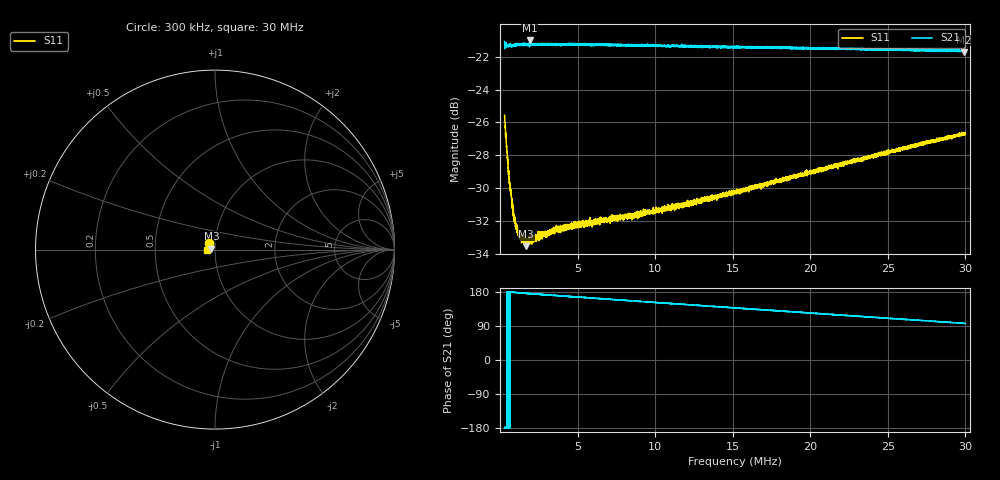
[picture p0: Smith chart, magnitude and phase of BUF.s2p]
!Agilent Technologies,N5230A,MY45001891,A.06.04.21
!Agilent N5230A: A.06.04.21
!Date: Friday, April 29, 2022 17:01:50
!Correction: S11(Off) S21(Off) S12(Off) S22(Off)
!S2P File: Measurements: S11, S21, S12, S22:
# Hz S  dB  R 50
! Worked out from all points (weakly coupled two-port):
!   6401 points, 300 kHz to 30 MHz, reference 50 ohm
!   highest |S21| = -21.01 dB at 1.929 MHz (marker M1); lowest = -21.7 dB at 29.91 MHz (marker M2)
!   lowest |S11| = -33.5 dB at 1.692 MHz (marker M3), VSWR 1.04, Z = 48 + j0.576 ohm
!   |S11| at or under -10 dB: start of sweep to end of sweep
!   S12 and S22 are empty: the file has one direction only
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300000  -25.56 133.2  -21.07 -177.9  -677.58 90.0  -680.88 90.0
383531.2  -26.88 133.3  -21.13 -178.6  -677.58 90.0  -680.88 90.0
513468.8  -28.34 132.5  -21.32 179.9  -677.58 90.0  -680.88 90.0
648046.9  -29.91 138.1  -21.24 179.1  -677.58 90.0  -680.88 90.0
764062.5  -30.61 139.4  -21.38 178.9  -677.58 90.0  -680.88 90.0
921843.8  -31.62 145.1  -21.29 178.6  -677.58 90.0  -680.88 90.0
982171.9  -32.07 147.2  -21.31 178.3  -677.58 90.0  -680.88 90.0
1084266  -32.50 149.7  -21.26 177.4  -677.58 90.0  -680.88 90.0
1269891  -32.98 155.4  -21.31 177.6  -677.58 90.0  -680.88 90.0
1460156  -33.25 158.9  -21.27 176.7  -677.58 90.0  -680.88 90.0
1692188  -33.52 163.5  -21.24 176.0  -677.58 90.0  -680.88 90.0
1928859  -33.32 167.2  -21.01 174.8  -677.58 90.0  -680.88 90.0
3372094  -32.58 176.4  -21.20 171.0  -677.58 90.0  -680.88 90.0
5251547  -32.15 179.7  -21.23 165.4  -677.58 90.0  -680.88 90.0
8639203  -31.59 -176.0  -21.31 155.8  -677.58 90.0  -680.88 90.0
1.020309e7  -31.19 -172.8  -21.33 151.2  -677.58 90.0  -680.88 90.0
1.165561e7  -31.04 -171.7  -21.31 147.3  -677.58 90.0  -680.88 90.0
1.515e7  -30.14 -169.2  -21.44 137.4  -677.58 90.0  -680.88 90.0
2.010155e7  -29.07 -169.5  -21.53 123.6  -677.58 90.0  -680.88 90.0
2.505309e7  -27.76 -172.5  -21.57 109.8  -677.58 90.0  -680.88 90.0
2.990719e7  -26.60 -176.8  -21.71 97.0  -677.58 90.0  -680.88 90.0
3e7  -26.74 -177.5  -21.64 96.4  -677.58 90.0  -680.88 90.0
